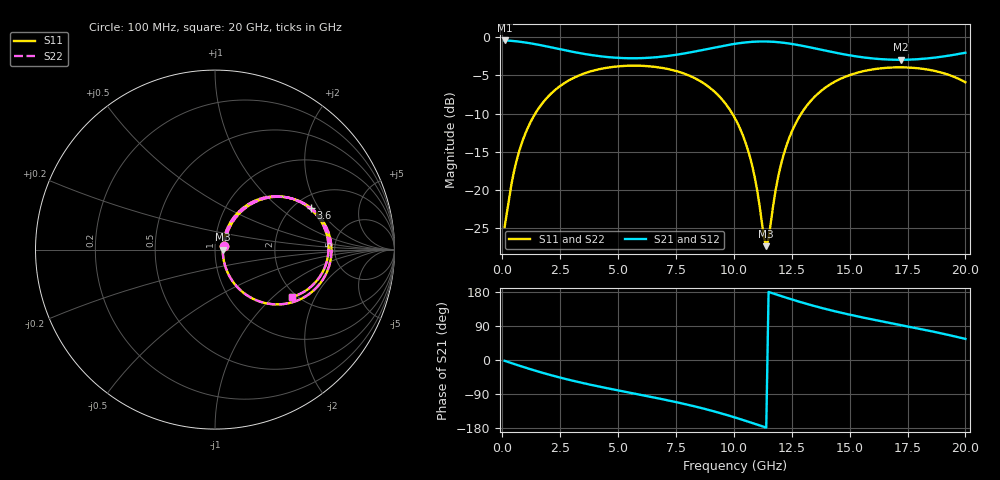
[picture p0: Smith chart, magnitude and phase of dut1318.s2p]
! Touchstone file exported from HFSS 2026.1.0
!  File:  C:/ffzhzh/LocalFiles/Ansys_Project_Files/temp_train_TSV_RDL_1318_1783336145_38820.aedt
!  Generated:  07:28:42 PM Jul  6, 2026
!  Design:  TSV_RDL
!  Project:  temp_train_TSV_RDL_1318_1783336145_38820
! Variables:
!  h_bsmrdl = 3.11um
!  h_ox = 20um
!  h_rdl = 5um
!  h_sub = 91.83um
!  h_tmrdl = 2.71um
!  h_tsv = 91.83um
!  h_via = 3um
!  l_bsmrdl = 860.33um
!  l_sub = 5180.83um
!  l_tmrdl = 531.6um
!  m_sub = 200um
!  pitch = 40.18um
!  r_tsv = 2.92um
!  s_tmrdl = 10um
!  w_bsmrdl = 12.53um
!  w_sub = 500um
!  w_tmrdl = 11.95um
!  x_tsv_center1 = 537.575um
!  x_tsv_center2 = 1410.435um
!  x_tsv_center3 = 1953.985um
!  x_tsv_center4 = 2826.845um
!  x_tsv_center5 = 3370.395um
!  x_tsv_center6 = 4243.255um
# GHz S MA R 50.000000
! Terminal data exported
! Port[1] = TM_RDL1_1_T1
! Port[2] = TM_RDL5_1_T1
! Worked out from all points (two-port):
!   200 points, 100 MHz to 20 GHz, reference 50 ohm
!   highest |S21| = -0.47 dB at 100 MHz (marker M1); lowest = -3.0 dB at 17.2 GHz (marker M2)
!   |S21| within 3 dB of the highest: start of sweep to end of sweep
!   lowest |S11| = -27.3 dB at 11.4 GHz (marker M3), VSWR 1.09, Z = 54.5 - j0.139 ohm
!   |S11| at or under -10 dB: start of sweep to 1.427 GHz; 9.929 GHz to 12.91 GHz (2.986 GHz wide, 26.1 % of centre)
!   |S22| runs from -27.3 to -3.8 dB; largest |S21 - S12| = 1.6e-14
!   S11 on the Smith chart (normalised r, x): 100 MHz: 1.11, +0.05; 3.6 GHz: 2.43, +1.71; 20 GHz: 1.89, -1.34
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0.1  0.05751 23.2  0.9477 -2.1  0.9477 -2.1  0.05751 23.2
! Gamma 0 0 0 0
! Port Impedance 50 0 50 0
0.6  0.1522 56.8  0.9357 -12.4  0.9357 -12.4  0.1522 56.8
1.2  0.2741 54.6  0.9089 -24.0  0.9089 -24.0  0.2741 54.6
2.2  0.4396 41.9  0.8491 -41.6  0.8491 -41.6  0.4396 41.9
3.5  0.5746 24.9  0.776 -61.1  0.776 -61.1  0.5746 24.9
3.6  0.5817 23.6  0.7714 -62.5  0.7714 -62.5  0.5817 23.6
5.2  0.6457 5.0  0.7274 -82.6  0.7274 -82.6  0.6457 5.0
6.8  0.6311 -13.1  0.7404 -102.0  0.7404 -102.0  0.6311 -13.1
8.7  0.4978 -37.2  0.8243 -128.4  0.8243 -128.4  0.4977 -37.2
10.1  0.2847 -56.8  0.9037 -152.6  0.9037 -152.6  0.2847 -56.8
10.8  0.1428 -61.1  0.9285 -166.3  0.9285 -166.3  0.1428 -61.0
11.4  0.04311 -1.7  0.9331 -178.4  0.9331 -178.4  0.04332 -1.7
11.5  0.04826 24.4  0.9322 179.6  0.9322 179.6  0.04846 24.3
11.9  0.1192 58.7  0.924 171.5  0.924 171.5  0.1193 58.7
12.2  0.1808 60.4  0.9134 165.6  0.9134 165.6  0.1808 60.4
12.7  0.278 56.2  0.8893 156.1  0.8893 156.1  0.278 56.2
13.4  0.3939 47.0  0.8477 143.8  0.8477 143.8  0.3939 47.0
14.8  0.5484 28.4  0.7673 122.4  0.7673 122.4  0.5484 28.4
16.7  0.63 6.5  0.7112 98.2  0.7112 98.2  0.6299 6.5
17.2  0.633 1.0  0.7089 92.2  0.7089 92.2  0.633 1.0
18.6  0.6031 -14.6  0.7301 75.0  0.7301 75.0  0.603 -14.6
20  0.5053 -31.5  0.7878 55.6  0.7878 55.6  0.5053 -31.4
